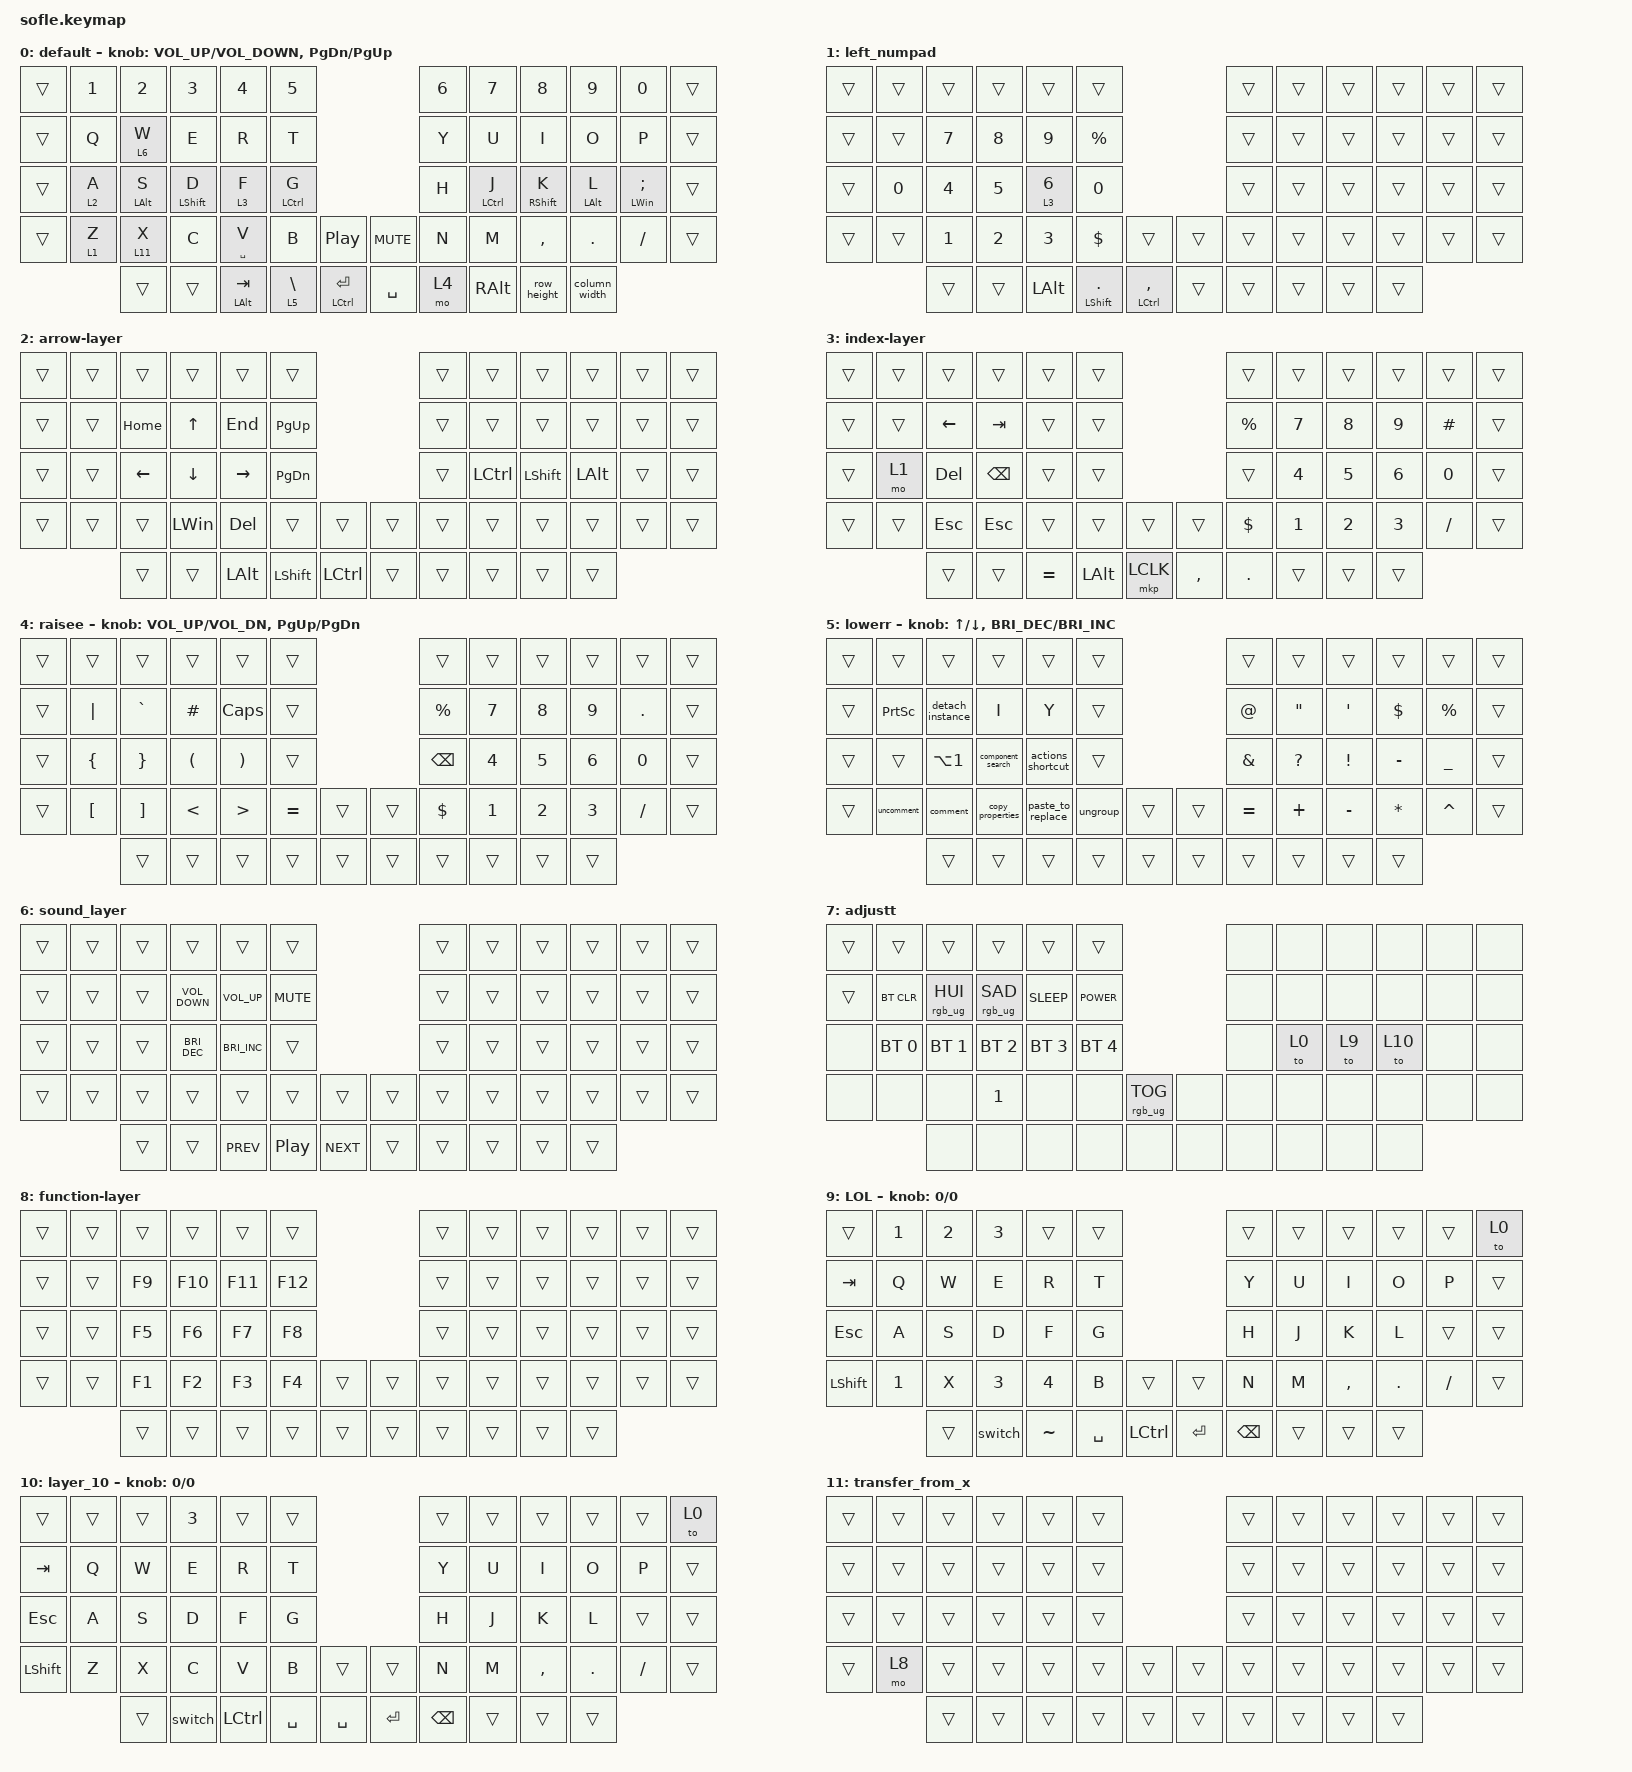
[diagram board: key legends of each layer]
/*
 * Copyright (c) 2020 The ZMK Contributors
 *
 * SPDX-License-Identifier: MIT
 */

#include <behaviors.dtsi>
#include <dt-bindings/zmk/bt.h>
#include <dt-bindings/zmk/keys.h>
#include <dt-bindings/zmk/pointing.h>
#include <dt-bindings/zmk/rgb.h>

#define BASE 0
#define LOWER 1
#define RAISE 2
#define ADJUST 3

&mt { flavor = "balanced"; };

/ {
    // Activate ADJUST layer by pressing raise and lower

    conditional_layers {
        compatible = "zmk,conditional-layers";

        settings {
            if-layers = <4 5>;
            then-layer = <7>;
        };
    };

    macros {
        align_left: AlignLeft {
            compatible = "zmk,behavior-macro";
            #binding-cells = <0>;
            bindings =
                <&macro_press>,
                <&kp LEFT_ALT>,
                <&macro_tap>,
                <&kp A>,
                <&macro_release>,
                <&kp LEFT_ALT>;

            label = "ALIGNLEFT";
        };

        align_right: align_right {
            compatible = "zmk,behavior-macro";
            #binding-cells = <0>;
            bindings =
                <&macro_press>,
                <&kp LEFT_ALT>,
                <&macro_tap>,
                <&kp D>,
                <&macro_release>,
                <&kp LEFT_ALT>;

            label = "ALIGN_RIGHT";
        };

        align_top: align_top {
            compatible = "zmk,behavior-macro";
            #binding-cells = <0>;
            bindings =
                <&macro_press>,
                <&kp LEFT_ALT>,
                <&macro_tap>,
                <&kp W>,
                <&macro_release>,
                <&kp LEFT_ALT>;

            label = "ALIGN_TOP";
        };

        align_bottom: align_bottom {
            compatible = "zmk,behavior-macro";
            #binding-cells = <0>;
            bindings =
                <&macro_press>,
                <&kp LEFT_ALT>,
                <&macro_tap>,
                <&kp S>,
                <&macro_release>,
                <&kp LEFT_ALT>;

            label = "ALIGN_BOTTOM";
        };

        align_vertical: align_vertical {
            compatible = "zmk,behavior-macro";
            #binding-cells = <0>;
            bindings =
                <&macro_press>,
                <&kp LEFT_ALT>,
                <&macro_tap>,
                <&kp V>,
                <&macro_release>,
                <&kp LEFT_ALT>;

            label = "ALIGN_VERTICAL";
        };

        align_horizontal: align_horizontal {
            compatible = "zmk,behavior-macro";
            #binding-cells = <0>;
            bindings =
                <&macro_press>,
                <&kp LEFT_ALT>,
                <&macro_tap>,
                <&kp H>,
                <&macro_release>,
                <&kp LEFT_ALT>;

            label = "ALIGN_HORIZONTAL";
        };

        detach_instance: detach_instance {
            compatible = "zmk,behavior-macro";
            #binding-cells = <0>;
            bindings =
                <&macro_press>,
                <&kp LEFT_ALT &kp LCTRL>,
                <&macro_tap>,
                <&kp B>,
                <&macro_release>,
                <&kp LEFT_ALT &kp LCTRL>;

            label = "DETACH_INSTANCE";
        };

        toggle_UI: toggle_UI {
            compatible = "zmk,behavior-macro";
            #binding-cells = <0>;
            bindings =
                <&macro_press>,
                <&kp LCTRL>,
                <&macro_tap>,
                <&kp BACKSLASH>,
                <&macro_release>,
                <&kp LCTRL>;

            label = "TOGGLE_UI";
        };

        paste_to_replace: paste_to_replace {
            compatible = "zmk,behavior-macro";
            #binding-cells = <0>;
            bindings =
                <&macro_press>,
                <&kp LEFT_SHIFT &kp LCTRL>,
                <&macro_tap>,
                <&kp R>,
                <&macro_release>,
                <&kp LEFT_SHIFT &kp LCTRL>;

            label = "PASTE_TO_REPLACE";
        };

        ungroup: ungroup {
            compatible = "zmk,behavior-macro";
            #binding-cells = <0>;
            bindings =
                <&macro_press>,
                <&kp LCTRL>,
                <&macro_tap>,
                <&kp BACKSPACE>,
                <&macro_release>,
                <&kp LCTRL>;

            label = "UNGROUP";
        };

        screenshot: screenshot {
            compatible = "zmk,behavior-macro";
            #binding-cells = <0>;
            bindings =
                <&macro_press>,
                <&kp LEFT_WIN &kp LEFT_SHIFT>,
                <&macro_tap>,
                <&kp S>,
                <&macro_release>,
                <&kp LEFT_WIN &kp LEFT_SHIFT>;

            label = "SCREENSHOT";
        };

        figma_AI: figma_AI {
            compatible = "zmk,behavior-macro";
            #binding-cells = <0>;
            bindings =
                <&macro_press>,
                <&kp LCTRL>,
                <&macro_tap>,
                <&kp K>,
                <&macro_release>,
                <&kp LCTRL>;

            label = "FIGMA_AI";
        };

        copy_properties: copy_properties {
            compatible = "zmk,behavior-macro";
            #binding-cells = <0>;
            bindings =
                <&macro_press>,
                <&kp LEFT_ALT &kp LCTRL>,
                <&macro_tap>,
                <&kp C>,
                <&macro_release>,
                <&kp LEFT_ALT &kp LCTRL>;

            label = "COPY_PROPERTIES";
        };

        comment: comment {
            compatible = "zmk,behavior-macro";
            #binding-cells = <0>;
            bindings =
                <&macro_press>,
                <&kp LCTRL>,
                <&macro_tap>,
                <&kp K &kp C>,
                <&macro_release>,
                <&kp LCTRL>;

            label = "COMMENT";
        };

        uncomment: uncomment {
            compatible = "zmk,behavior-macro";
            #binding-cells = <0>;
            bindings =
                <&macro_press>,
                <&kp LCTRL>,
                <&macro_tap>,
                <&kp K &kp U>,
                <&macro_release>,
                <&kp LCTRL>;

            label = "UNCOMMENT";
        };

        row_height: row_height {
            compatible = "zmk,behavior-macro";
            #binding-cells = <0>;
            bindings =
                <&macro_press>,
                <&kp LEFT_ALT>,
                <&macro_tap>,
                <&kp H &kp O &kp H>,
                <&macro_release>,
                <&kp LEFT_ALT>;

            label = "ROW_HEIGHT";
        };

        column_width: column_width {
            compatible = "zmk,behavior-macro";
            #binding-cells = <0>;
            bindings =
                <&macro_press>,
                <&kp LEFT_ALT>,
                <&macro_tap>,
                <&kp H &kp O &kp W>,
                <&macro_release>,
                <&kp LEFT_ALT>;

            label = "COLUMN_WIDTH";
        };

        switch: switch {
            compatible = "zmk,behavior-macro";
            #binding-cells = <0>;
            bindings =
                <&macro_tap>,
                <&kp S &kp W &kp I &kp T &kp C &kp H &kp ENTER>;

            label = "SWITCH";
        };

        actions_shortcut: actions_shortcut {
            compatible = "zmk,behavior-macro";
            #binding-cells = <0>;
            bindings =
                <&macro_press>,
                <&kp LCTRL>,
                <&macro_tap>,
                <&kp K>,
                <&macro_release>,
                <&kp LCTRL>;

            label = "ACTIONS_SHORTCUT";
        };

        component_search: component_search {
            compatible = "zmk,behavior-macro";
            #binding-cells = <0>;
            bindings =
                <&macro_press>,
                <&kp LEFT_SHIFT>,
                <&macro_tap>,
                <&kp I>,
                <&macro_release>,
                <&kp LEFT_SHIFT>;

            label = "COMPONENT_SEARCH";
        };
    };

    combos {
        compatible = "zmk,combos";

        sleep {
            bindings = <&kp C_SLEEP>;
            key-positions = <26 27 28>;
        };
    };

    keymap {
        compatible = "zmk,keymap";

        default_layer {
            display-name = "default";

            // ------------------------------------------------------------------------------------------------------------
            // |   `   |  1  |  2  |  3   |  4   |  5   |                   |  6   |  7    |  8    |  9   |   0   |       |
            // |  ESC  |  Q  |  W  |  E   |  R   |  T   |                   |  Y   |  U    |  I    |  O   |   P   | BKSPC |
            // |  TAB  |  A  |  S  |  D   |  F   |  G   |                   |  H   |  J    |  K    |  L   |   ;   |   '   |
            // | SHIFT |  Z  |  X  |  C   |  V   |  B   |  MUTE  |  |       |  N   |  M    |  ,    |  .   |   /   | SHIFT |
            //               | GUI | ALT  | CTRL | LOWER|  ENTER |  | SPACE | RAISE| CTRL  | ALT   | GUI  |

            bindings = <
&trans  &kp N1   &kp N2          &kp N3            &kp N4            &kp N5                                           &kp N6  &kp N7       &kp N8             &kp N9          &kp N0                  &trans
&trans  &kp Q    &lt 6 W         &kp E             &kp R             &kp T                                            &kp Y   &kp U        &kp I              &kp O           &kp P                   &trans
&trans  &lt 2 A  &mt LEFT_ALT S  &mt LEFT_SHIFT D  &lt 3 F           &mt LCTRL G                                      &kp H   &mt LCTRL J  &mt RIGHT_SHIFT K  &mt LEFT_ALT L  &mt LEFT_WIN SEMICOLON  &trans
&trans  &lt 1 Z  &lt 11 X        &kp C             &mt SPACE V       &kp B            &kp C_PLAY_PAUSE    &kp K_MUTE  &kp N   &kp M        &kp COMMA          &kp DOT         &kp FSLH                &trans
                 &trans          &trans            &mt LEFT_ALT TAB  &lt 5 BACKSLASH  &mt LCTRL RET       &kp SPACE   &mo 4   &kp RALT     &row_height        &column_width
            >;

            sensor-bindings =
                <&inc_dec_kp C_VOLUME_UP C_VOLUME_DOWN>,
                <&inc_dec_kp PAGE_DOWN PAGE_UP>;
        };

        left_numpad {
            bindings = <
&trans  &trans  &trans        &trans        &trans          &trans                                            &trans  &trans  &trans  &trans  &trans  &trans
&trans  &trans  &kp N7        &kp N8        &kp N9          &kp PERCENT                                       &trans  &trans  &trans  &trans  &trans  &trans
&trans  &kp N0  &kp NUMBER_4  &kp N5        &lt 3 NUMBER_6  &kp N0                                            &trans  &trans  &trans  &trans  &trans  &trans
&trans  &trans  &kp NUMBER_1  &kp NUMBER_2  &kp NUMBER_3    &kp DOLLAR             &trans             &trans  &trans  &trans  &trans  &trans  &trans  &trans
                &trans        &trans        &kp LEFT_ALT    &mt LEFT_SHIFT PERIOD  &mt LCTRL COMMA    &trans  &trans  &trans  &trans  &trans
            >;
        };

        arrow-layer {
            bindings = <
&trans  &trans  &trans          &trans          &trans           &trans                               &trans  &trans     &trans          &trans        &trans  &trans
&trans  &trans  &kp HOME        &kp UP_ARROW    &kp END          &kp PAGE_UP                          &trans  &trans     &trans          &trans        &trans  &trans
&trans  &trans  &kp LEFT_ARROW  &kp DOWN_ARROW  &kp RIGHT_ARROW  &kp PAGE_DOWN                        &trans  &kp LCTRL  &kp LEFT_SHIFT  &kp LEFT_ALT  &trans  &trans
&trans  &trans  &trans          &kp LEFT_WIN    &kp DELETE       &trans          &trans       &trans  &trans  &trans     &trans          &trans        &trans  &trans
                &trans          &trans          &kp LEFT_ALT     &kp LEFT_SHIFT  &kp LCTRL    &trans  &trans  &trans     &trans          &trans
            >;
        };

        index-layer {
            bindings = <
&trans  &trans  &trans          &trans         &trans     &trans                                &trans       &trans        &trans        &trans        &trans     &trans
&trans  &trans  &kp LEFT_ARROW  &kp TAB        &trans     &trans                                &kp PERCENT  &kp N7        &kp N8        &kp N9        &kp HASH   &trans
&trans  &mo 1   &kp DELETE      &kp BACKSPACE  &trans     &trans                                &trans       &kp NUMBER_4  &kp N5        &kp NUMBER_6  &kp N0     &trans
&trans  &trans  &kp ESCAPE      &kp ESCAPE     &trans     &trans        &trans       &trans     &kp DOLLAR   &kp NUMBER_1  &kp NUMBER_2  &kp NUMBER_3  &kp SLASH  &trans
                &trans          &trans         &kp EQUAL  &kp LEFT_ALT  &mkp LCLK    &kp COMMA  &kp PERIOD   &trans        &trans        &trans
            >;
        };

        coding_numpad {
            display-name = "raisee";

            // ------------------------------------------------------------------------------------------------------------
            // | BTCLR | BT1  | BT2  |  BT3  |  BT4  |  BT5 |                |      |      |       |      |       |       |
            // |       | INS  | PSCR | GUI   |       |      |                | PGUP |      |   ^   |      |       |       |
            // |       | ALT  | CTRL | SHIFT |       | CAPS |                | PGDN |   <- |   v   |  ->  |  DEL  | BKSPC |
            // |       | UNDO | CUT  | COPY  | PASTE |      |      |  |      |      |      |       |      |       |       |
            //                |      |       |       |      |      |  |      |      |      |       |      |

            bindings = <
&trans  &trans            &trans             &trans                &trans                 &trans                       &trans         &trans        &trans        &trans        &trans      &trans
&trans  &kp PIPE          &kp GRAVE          &kp HASH              &kp CAPS               &trans                       &kp PERCENT    &kp N7        &kp N8        &kp N9        &kp PERIOD  &trans
&trans  &kp LEFT_BRACE    &kp RIGHT_BRACE    &kp LEFT_PARENTHESIS  &kp RIGHT_PARENTHESIS  &trans                       &kp BACKSPACE  &kp NUMBER_4  &kp N5        &kp NUMBER_6  &kp N0      &trans
&trans  &kp LEFT_BRACKET  &kp RIGHT_BRACKET  &kp LESS_THAN         &kp GREATER_THAN       &kp EQUAL  &trans    &trans  &kp DOLLAR     &kp NUMBER_1  &kp NUMBER_2  &kp NUMBER_3  &kp SLASH   &trans
                          &trans             &trans                &trans                 &trans     &trans    &trans  &trans         &trans        &trans        &trans
            >;

            sensor-bindings = <&inc_dec_kp C_VOL_UP C_VOL_DN &inc_dec_kp PG_UP PG_DN>;
        };

        lower_layer {
            display-name = "lowerr";

            // TODO: Some binds are waiting for shifted keycode support.
            // ------------------------------------------------------------------------------------------------------------
            // |       |  F1 |  F2 |  F3  |  F4  |  F5  |                   |  F6  |  F7   |  F8   |  F9  |  F10  |  F11  |
            // |   `   |  1  |  2  |  3   |  4   |  5   |                   |  6   |  7    |  8    |  9   |   0   |  F12  |
            // |       |  !  |  @  |  #   |  $   |  %   |                   |  ^   |  &    |  *    |  (   |   )   |   |   |
            // |       |  =  |  -  |  +   |  {   |  }   |        |  |       |  [   |  ]    |  ;    |  :   |   \   |       |
            //               |     |      |      |      |        |  |       |      |       |       |      |

            bindings = <
&trans  &trans           &trans            &trans             &trans             &trans                      &trans         &trans             &trans           &trans        &trans          &trans
&trans  &kp PRINTSCREEN  &detach_instance  &kp I              &kp Y              &trans                      &kp AT_SIGN    &kp DOUBLE_QUOTES  &kp SQT          &kp DOLLAR    &kp PERCENT     &trans
&trans  &trans           &kp LA(NUMBER_1)  &component_search  &actions_shortcut  &trans                      &kp AMPERSAND  &kp QUESTION       &kp EXCLAMATION  &kp MINUS     &kp UNDERSCORE  &trans
&trans  &uncomment       &comment          &copy_properties   &paste_to_replace  &ungroup  &trans    &trans  &kp EQUAL      &kp PLUS           &kp MINUS        &kp ASTERISK  &kp CARET       &trans
                         &trans            &trans             &trans             &trans    &trans    &trans  &trans         &trans             &trans           &trans
            >;

            sensor-bindings =
                <&inc_dec_kp UP_ARROW DOWN_ARROW>,
                <&inc_dec_kp C_BRI_DEC C_BRI_INC>;
        };

        sound_layer {
            bindings = <
&trans  &trans  &trans  &trans                &trans                &trans                                  &trans  &trans  &trans  &trans  &trans  &trans
&trans  &trans  &trans  &kp C_VOLUME_DOWN     &kp C_VOLUME_UP       &kp C_MUTE                              &trans  &trans  &trans  &trans  &trans  &trans
&trans  &trans  &trans  &kp C_BRIGHTNESS_DEC  &kp C_BRIGHTNESS_INC  &trans                                  &trans  &trans  &trans  &trans  &trans  &trans
&trans  &trans  &trans  &trans                &trans                &trans            &trans        &trans  &trans  &trans  &trans  &trans  &trans  &trans
                &trans  &trans                &kp C_PREV            &kp C_PLAY_PAUSE  &kp C_NEXT    &trans  &trans  &trans  &trans  &trans
            >;
        };

        adjust_layer {
            // ----------------------------------------------------------------------------------------------------------------------------
            // | BTCLR  |  BT1    |  BT2    |   BT3   |   BT4   |   BT5   |                  |      |      |       |      |       |       |
            // | EXTPWR | RGB_HUD | RGB_HUI | RGB_SAD | RGB_SAI | RGB_EFF |                  |      |      |       |      |       |       |
            // |        | RGB_BRD | RGB_BRI |         |         |         |                  |      |      |       |      |       |       |
            // |        |         |         |         |         |         | RGB_TOG | |      |      |      |       |      |       |       |
            //                    |         |         |         |         |         | |      |      |      |       |      |

            display-name = "adjustt";
            bindings = <
&trans  &trans        &trans           &trans           &trans        &trans                                  &none  &none  &none  &none   &none  &none
&trans  &bt BT_CLR    &rgb_ug RGB_HUI  &rgb_ug RGB_SAD  &kp C_SLEEP   &kp C_POWER                             &none  &none  &none  &none   &none  &none
&none   &bt BT_SEL 0  &bt BT_SEL 1     &bt BT_SEL 2     &bt BT_SEL 3  &bt BT_SEL 4                            &none  &to 0  &to 9  &to 10  &none  &none
&none   &none         &none            &kp NUMBER_1     &none         &none         &rgb_ug RGB_TOG    &none  &none  &none  &none  &none   &none  &none
                      &none            &none            &none         &none         &none              &none  &none  &none  &none  &none
            >;
        };

        function-layer {
            bindings = <
&trans  &trans  &trans  &trans   &trans   &trans                     &trans  &trans  &trans  &trans  &trans  &trans
&trans  &trans  &kp F9  &kp F10  &kp F11  &kp F12                    &trans  &trans  &trans  &trans  &trans  &trans
&trans  &trans  &kp F5  &kp F6   &kp F7   &kp F8                     &trans  &trans  &trans  &trans  &trans  &trans
&trans  &trans  &kp F1  &kp F2   &kp F3   &kp F4   &trans    &trans  &trans  &trans  &trans  &trans  &trans  &trans
                &trans  &trans   &trans   &trans   &trans    &trans  &trans  &trans  &trans  &trans
            >;
        };

        LOL {
            bindings = <
&trans          &kp NUMBER_1  &kp NUMBER_2  &kp NUMBER_3  &trans        &trans                             &trans         &trans  &trans     &trans      &trans     &to 0
&kp TAB         &kp Q         &kp W         &kp E         &kp R         &kp T                              &kp Y          &kp U   &kp I      &kp O       &kp P      &trans
&kp ESCAPE      &kp A         &kp S         &kp D         &kp F         &kp G                              &kp H          &kp J   &kp K      &kp L       &trans     &trans
&kp LEFT_SHIFT  &kp NUMBER_1  &kp X         &kp NUMBER_3  &kp NUMBER_4  &kp B      &trans       &trans     &kp N          &kp M   &kp COMMA  &kp PERIOD  &kp SLASH  &trans
                              &trans        &switch       &kp TILDE     &kp SPACE  &kp LCTRL    &kp ENTER  &kp BACKSPACE  &trans  &trans     &trans
            >;

            sensor-bindings = <&inc_dec_kp 0 0>;
        };

        layer_10 {
            bindings = <
&trans          &trans  &trans  &kp NUMBER_3  &trans     &trans                             &trans         &trans  &trans     &trans      &trans     &to 0
&kp TAB         &kp Q   &kp W   &kp E         &kp R      &kp T                              &kp Y          &kp U   &kp I      &kp O       &kp P      &trans
&kp ESCAPE      &kp A   &kp S   &kp D         &kp F      &kp G                              &kp H          &kp J   &kp K      &kp L       &trans     &trans
&kp LEFT_SHIFT  &kp Z   &kp X   &kp C         &kp V      &kp B      &trans       &trans     &kp N          &kp M   &kp COMMA  &kp PERIOD  &kp SLASH  &trans
                        &trans  &switch       &kp LCTRL  &kp SPACE  &kp SPACE    &kp ENTER  &kp BACKSPACE  &trans  &trans     &trans
            >;

            sensor-bindings = <&inc_dec_kp 0 0>;
        };

        transfer_from_x {
            bindings = <
&trans  &trans  &trans  &trans  &trans  &trans                    &trans  &trans  &trans  &trans  &trans  &trans
&trans  &trans  &trans  &trans  &trans  &trans                    &trans  &trans  &trans  &trans  &trans  &trans
&trans  &trans  &trans  &trans  &trans  &trans                    &trans  &trans  &trans  &trans  &trans  &trans
&trans  &mo 8   &trans  &trans  &trans  &trans  &trans    &trans  &trans  &trans  &trans  &trans  &trans  &trans
                &trans  &trans  &trans  &trans  &trans    &trans  &trans  &trans  &trans  &trans
            >;
        };
    };
};
